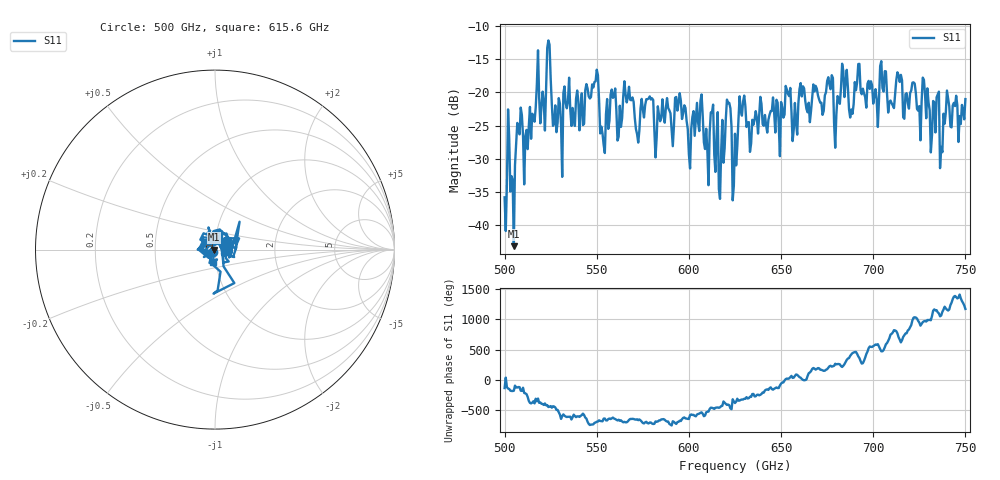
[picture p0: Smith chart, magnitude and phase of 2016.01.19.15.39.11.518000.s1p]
!Created with skrf (http://scikit-rf.org).
# GHz S RI R 50.0
!freq ReS11 ImS11
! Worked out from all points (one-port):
!   401 points, 500 GHz to 750 GHz, reference 50 ohm
!   lowest |S11| = -43.1 dB at 505 GHz (marker M1), VSWR 1.01, Z = 49.3 + j0.0334 ohm
!   |S11| at or under -10 dB: start of sweep to end of sweep
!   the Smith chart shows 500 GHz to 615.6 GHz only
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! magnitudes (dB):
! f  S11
! 500 GHz  -35.8
! 502.5 GHz  -26.9
! 505 GHz  -43.1
! 508.1 GHz  -26.3
! 520.6 GHz  -19.9
! 523.8 GHz  -12.2
! 526.9 GHz  -24.7
! 531.2 GHz  -32.7
! 549.4 GHz  -18.3
! 553.1 GHz  -26.2
! 558.8 GHz  -20.8
! 562.5 GHz  -22.0
! 566.2 GHz  -21.5
! 571.9 GHz  -26.3
! 593.8 GHz  -22.7
! 617.5 GHz  -28.8
! 621.2 GHz  -21.6
! 625 GHz  -26.2
! 628.8 GHz  -23.5
! 656.2 GHz  -27.3
! 676.9 GHz  -19.5
! 680 GHz  -23.3
! 684.4 GHz  -20.7
! 687.5 GHz  -23.8
! 718.8 GHz  -21.6
! 734.4 GHz  -20.8
! 737.5 GHz  -29.0
! 750 GHz  -21.0
